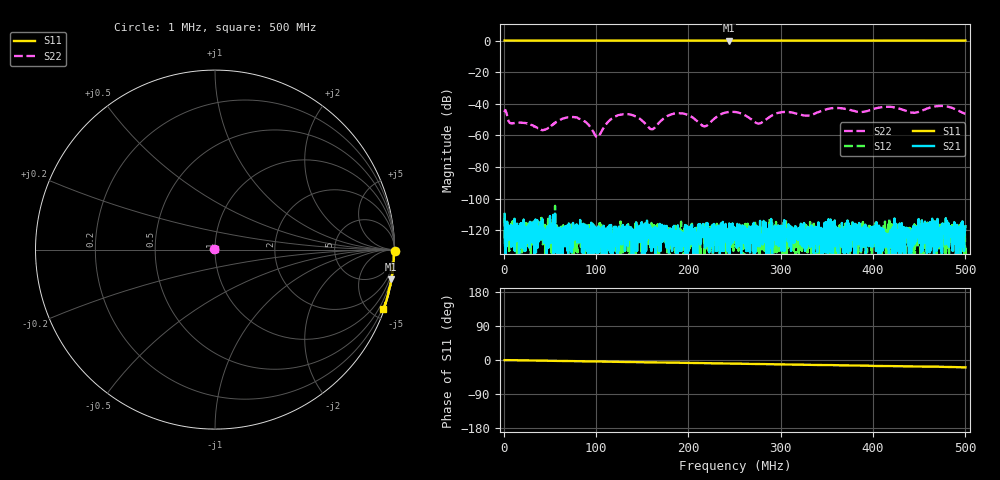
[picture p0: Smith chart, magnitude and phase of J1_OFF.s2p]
! MS46122B
! 1746301/73750021
! 8/7/2023 3:00:39 PM
! C:\USERS\SPEGWAL\DOWNLOADS\SAURABH\REACH\NODES\FRONT END\MEASUREMENTS\MEASURED S-PARAMETER_07-08-2023\MS-3\P2_J1\J1_OFF.S2P
! CHANNEL.1
! TR.MEASUREMENT
! CORRECTED.DATA
# GHZ S RI R 50.0
! FREQ.GHZ  S11RE  S11IM  S21RE  S21IM  S12RE  S12IM  S22RE  S22IM
!; PortSelection: Port_12
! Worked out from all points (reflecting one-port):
!   2001 points, 1 MHz to 500 MHz, reference 50 ohm
!   lowest |S11| = 0.0 dB at 243.5 MHz (marker M1), VSWR 356.60, Z = 20 - j594 ohm
!   phase of S11 starts at -0 deg and turns -19 deg over the sweep
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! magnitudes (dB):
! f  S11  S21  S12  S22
! 1 MHz  0.0  -109.7  -111.9  -45.3
! 7.986 MHz  0.0  -118.7  -121.4  -52.3
! 41.67 MHz  0.0  -112.7  -124.7  -56.6
! 67.12 MHz  0.0  -118.7  -121.4  -48.8
! 84.33 MHz  0.0  -120.1  -117.4  -49.9
! 101.3 MHz  0.0  -137.0  -123.5  -61.1
! 126 MHz  0.0  -125.4  -127.7  -46.9
! 142.7 MHz  0.0  -123.1  -114.8  -47.9
! 159.7 MHz  0.0  -124.0  -134.0  -56.0
! 167.4 MHz  0.0  -122.8  -134.0  -52.5
! 190.9 MHz  0.0  -120.7  -119.0  -46.0
! 218.1 MHz  0.0  -131.0  -123.9  -54.2
! 243.5 MHz  0.0  -133.0  -127.0  -45.2
! 250.5 MHz  0.0  -125.9  -120.9  -45.2
! 275.9 MHz  0.0  -125.9  -121.7  -52.5
! 300.9 MHz  0.0  -131.0  -123.9  -45.4
! 333.8 MHz  0.0  -127.0  -133.0  -46.9
! 356 MHz  0.0  -133.0  -127.7  -42.8
! 416.9 MHz  0.0  -130.0  -133.0  -41.9
! 444.6 MHz  0.0  -128.9  -116.1  -45.7
! 476.3 MHz  0.0  -121.9  -122.4  -41.4
! 500 MHz  0.0  -117.4  -131.0  -46.3
